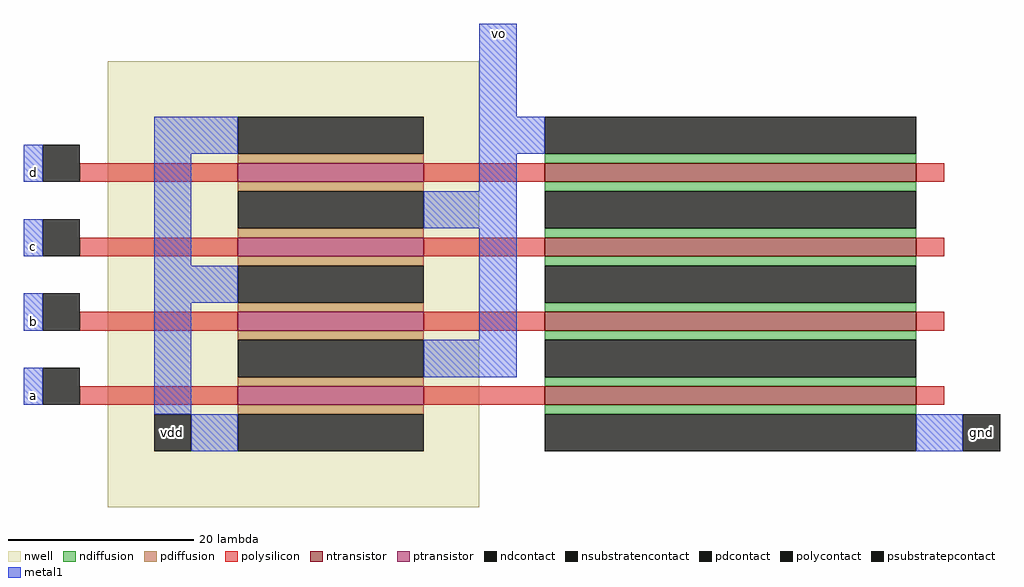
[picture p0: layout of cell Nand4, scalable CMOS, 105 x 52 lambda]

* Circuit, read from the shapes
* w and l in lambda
.subckt Nand4 a b c d gnd vdd vo
M1 n1 a gnd gnd nfet w=40 l=2
M2 n2 b n1 gnd nfet w=40 l=2
M3 n3 c n2 gnd nfet w=40 l=2
M4 vo d n3 gnd nfet w=40 l=2
M5 vo a vdd vdd pfet w=20 l=2
M6 vdd b vo vdd pfet w=20 l=2
M7 vo c vdd vdd pfet w=20 l=2
M8 vdd d vo vdd pfet w=20 l=2
.ends

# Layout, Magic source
magic
tech scmos
<< nwell >>
rect 9 -56 49 -8
<< ntransistor >>
rect 56 -21 96 -19
rect 56 -29 96 -27
rect 56 -37 96 -35
rect 56 -45 96 -43
<< ptransistor >>
rect 23 -21 43 -19
rect 23 -29 43 -27
rect 23 -37 43 -35
rect 23 -45 43 -43
<< ndiffusion >>
rect 56 -19 96 -18
rect 56 -22 96 -21
rect 56 -27 96 -26
rect 56 -30 96 -29
rect 56 -35 96 -34
rect 56 -38 96 -37
rect 56 -43 96 -42
rect 56 -46 96 -45
<< pdiffusion >>
rect 23 -19 43 -18
rect 23 -22 43 -21
rect 23 -27 43 -26
rect 23 -30 43 -29
rect 23 -35 43 -34
rect 23 -38 43 -37
rect 23 -43 43 -42
rect 23 -46 43 -45
<< ndcontact >>
rect 56 -18 96 -14
rect 56 -26 96 -22
rect 56 -34 96 -30
rect 56 -42 96 -38
rect 56 -50 96 -46
<< pdcontact >>
rect 23 -18 43 -14
rect 23 -26 43 -22
rect 23 -34 43 -30
rect 23 -42 43 -38
rect 23 -50 43 -46
<< psubstratepcontact >>
rect 101 -50 105 -46
<< nsubstratencontact >>
rect 14 -50 18 -46
<< polysilicon >>
rect 6 -21 23 -19
rect 43 -21 56 -19
rect 96 -21 99 -19
rect 6 -29 23 -27
rect 43 -29 56 -27
rect 96 -29 99 -27
rect 6 -37 23 -35
rect 43 -37 56 -35
rect 96 -37 99 -35
rect 6 -45 23 -43
rect 43 -45 56 -43
rect 96 -45 99 -43
<< polycontact >>
rect 2 -21 6 -17
rect 2 -29 6 -25
rect 2 -37 6 -33
rect 2 -45 6 -41
<< metal1 >>
rect 49 -14 53 -4
rect 0 -21 2 -17
rect 14 -18 23 -14
rect 49 -18 56 -14
rect 0 -29 2 -25
rect 14 -30 18 -18
rect 49 -22 53 -18
rect 43 -26 53 -22
rect 0 -37 2 -33
rect 14 -34 23 -30
rect 0 -45 2 -41
rect 14 -46 18 -34
rect 49 -38 53 -26
rect 43 -42 53 -38
rect 18 -50 23 -46
rect 96 -50 101 -46
<< labels >>
rlabel nsubstratencontact 14 -50 18 -46 7 vdd
rlabel psubstratepcontact 101 -50 105 -46 7 gnd
rlabel metal1 0 -45 2 -43 3 a
rlabel metal1 0 -37 2 -35 3 b
rlabel metal1 0 -29 2 -27 3 c
rlabel metal1 0 -21 2 -19 3 d
rlabel metal1 49 -6 53 -4 5 vo
<< end >>
